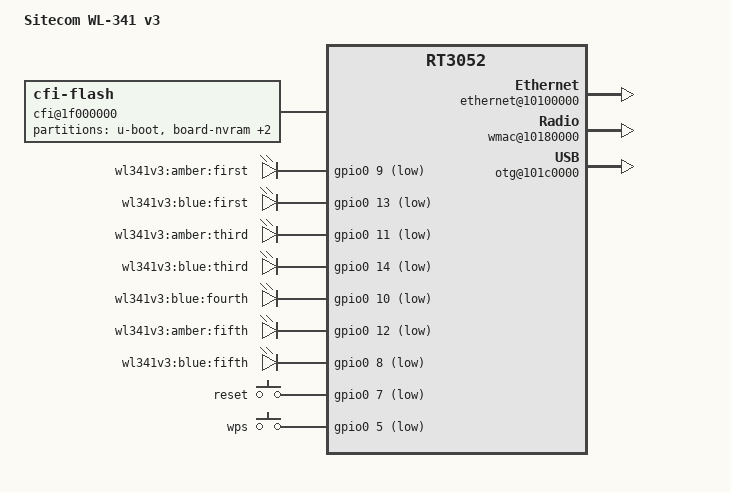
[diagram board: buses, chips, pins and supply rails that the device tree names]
/dts-v1/;

/include/ "rt3050.dtsi"

/ {
	compatible = "WL341V3", "ralink,rt3052-soc";
	model = "Sitecom WL-341 v3";

	palmbus@10000000 {
		sysc@0 {
			ralink,pinmux = "i2c", "spi", "uartlite", "jtag", "mdio", "sdram", "rgmii";
			ralink,uartmux = "gpio";
			ralink,wdtmux = <1>;
		};

		gpio0: gpio@600 {
			status = "okay";
		};
	};

	cfi@1f000000 {
		compatible = "cfi-flash";
		reg = <0x1f000000 0x800000>;

		bank-width = <2>;
		device-width = <2>;
		#address-cells = <1>;
		#size-cells = <1>;

		partition@0 {
			label = "u-boot";
			reg = <0x0 0x20000>;
			read-only;
		};

		partition@20000 {
			label = "board-nvram";
			reg = <0x20000 0x10000>;
			read-only;
		};

		partition@30000 {
			label = "u-boot-env";
			reg = <0x30000 0x10000>;
			read-only;
		};

		partition@40000 {
			label = "firmware";
			reg = <0x40000 0x3b0000>;
		};
	};

	ethernet@10100000 {
		status = "okay";
	};

	esw@10110000 {
		status = "okay";
		ralink,portmap = <0x3e>;
	};

	gpio-leds {
		compatible = "gpio-leds";
		first {
			label = "wl341v3:amber:first";
			gpios = <&gpio0 9 1>;
		};
		first2 {
			label = "wl341v3:blue:first";
			gpios = <&gpio0 13 1>;
		};
		third {
			label = "wl341v3:amber:third";
			gpios = <&gpio0 11 1>;
		};
		third2 {
			label = "wl341v3:blue:third";
			gpios = <&gpio0 14 1>;
		};
		fourth {
			label = "wl341v3:blue:fourth";
			gpios = <&gpio0 10 1>;
		};
		fifth {
			label = "wl341v3:amber:fifth";
			gpios = <&gpio0 12 1>;
		};
		fifth2 {
			label = "wl341v3:blue:fifth";
			gpios = <&gpio0 8 1>;
		};
	};

	gpio-keys-polled {
		compatible = "gpio-keys-polled";
		#address-cells = <1>;
		#size-cells = <0>;
		poll-interval = <20>;
		reset {
			label = "reset";
			gpios = <&gpio0 7 1>;
			linux,code = <0x198>;
		};
		wps {
			label = "wps";
			gpios = <&gpio0 5 1>;
			linux,code = <0x211>;
		};
	};

	wmac@10180000 {
		status = "okay";
	};

	otg@101c0000 {
		status = "okay";
	};
};
